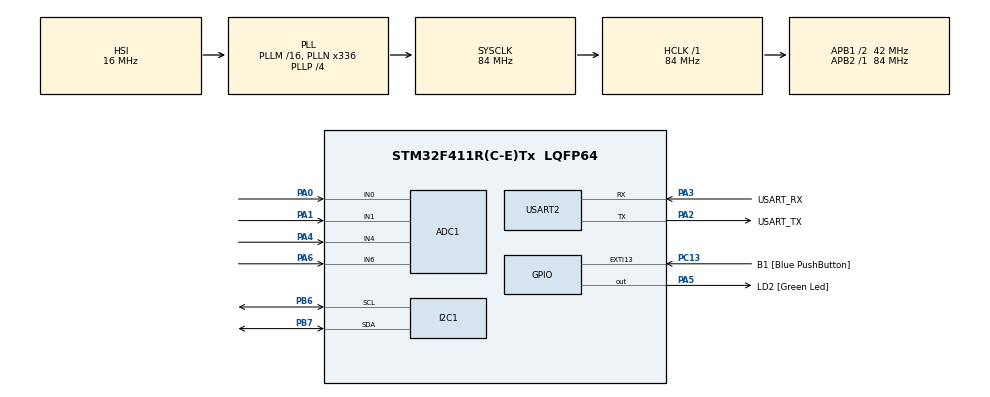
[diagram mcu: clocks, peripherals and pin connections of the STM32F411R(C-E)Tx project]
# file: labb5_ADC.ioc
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ADC1.Channel-0\#ChannelRegularConversion=ADC_CHANNEL_0
ADC1.Channel-1\#ChannelRegularConversion=ADC_CHANNEL_1
ADC1.Channel-4\#ChannelRegularConversion=ADC_CHANNEL_4
ADC1.Channel-5\#ChannelRegularConversion=ADC_CHANNEL_6
ADC1.ContinuousConvMode=ENABLE
ADC1.InjNumberOfConversion=0
ADC1.NbrOfConversion=4
ADC1.NbrOfConversionFlag=1
ADC1.Rank-0\#ChannelRegularConversion=1
ADC1.Rank-1\#ChannelRegularConversion=2
ADC1.Rank-4\#ChannelRegularConversion=3
ADC1.Rank-5\#ChannelRegularConversion=4
ADC1.SamplingTime-0\#ChannelRegularConversion=ADC_SAMPLETIME_480CYCLES
ADC1.SamplingTime-1\#ChannelRegularConversion=ADC_SAMPLETIME_480CYCLES
ADC1.SamplingTime-4\#ChannelRegularConversion=ADC_SAMPLETIME_480CYCLES
ADC1.SamplingTime-5\#ChannelRegularConversion=ADC_SAMPLETIME_480CYCLES
ADC1.ScanConvMode=ENABLE
ADC1.master=1
Mcu.Family=STM32F4
Mcu.Name=STM32F411R(C-E)Tx
Mcu.Package=LQFP64
NVIC.ADC_IRQn=true\:0\:0\:false\:false\:true\:true\:true\:true
NVIC.PriorityGroup=NVIC_PRIORITYGROUP_0
NVIC.TIM2_IRQn=true\:0\:0\:false\:false\:true\:true\:true\:true
PA0-WKUP.Signal=ADCx_IN0
PA1.Signal=ADCx_IN1
PA13.GPIO_Label=TMS
PA13.Mode=Serial_Wire
PA13.Signal=SYS_JTMS-SWDIO
PA14.GPIO_Label=TCK
PA14.Mode=Serial_Wire
PA14.Signal=SYS_JTCK-SWCLK
PA2.GPIO_Label=USART_TX
PA2.Mode=Asynchronous
PA2.Signal=USART2_TX
PA3.GPIO_Label=USART_RX
PA3.Mode=Asynchronous
PA3.Signal=USART2_RX
PA4.Signal=ADCx_IN4
PA5.GPIO_Label=LD2 [Green Led]
PA5.Signal=GPIO_Output
PA6.Signal=ADCx_IN6
PB3.GPIO_Label=SWO
PB3.Signal=SYS_JTDO-SWO
PB6.Mode=I2C
PB6.Signal=I2C1_SCL
PB7.Mode=I2C
PB7.Signal=I2C1_SDA
PC13-ANTI_TAMP.GPIO_Label=B1 [Blue PushButton]
PC13-ANTI_TAMP.GPIO_ModeDefaultEXTI=GPIO_MODE_IT_FALLING
PC13-ANTI_TAMP.Signal=GPXTI13
PC14-OSC32_IN.Mode=LSE-External-Oscillator
PC14-OSC32_IN.Signal=RCC_OSC32_IN
PC15-OSC32_OUT.Mode=LSE-External-Oscillator
PC15-OSC32_OUT.Signal=RCC_OSC32_OUT
PH0\ -\ OSC_IN.Mode=HSE-External-Clock-Source
PH0\ -\ OSC_IN.Signal=RCC_OSC_IN
PH1\ -\ OSC_OUT.Mode=HSE-External-Clock-Source
PH1\ -\ OSC_OUT.Signal=RCC_OSC_OUT
ProjectManager.HeapSize=0x200
ProjectManager.StackSize=0x400
ProjectManager.TargetToolchain=STM32CubeIDE
RCC.48MHZClocksFreq_Value=84000000
RCC.AHBFreq_Value=84000000
RCC.APB1CLKDivider=RCC_HCLK_DIV2
RCC.APB1Freq_Value=42000000
RCC.APB1TimFreq_Value=84000000
RCC.APB2Freq_Value=84000000
RCC.APB2TimFreq_Value=84000000
RCC.CortexFreq_Value=84000000
RCC.FLatency-AdvancedSettings=FLASH_LATENCY_2
RCC.HCLKFreq_Value=84000000
RCC.HSE_VALUE=8000000
RCC.HSI_VALUE=16000000
RCC.PLLN=336
RCC.PLLP=RCC_PLLP_DIV4
RCC.SYSCLKFreq_VALUE=84000000
RCC.SYSCLKSource=RCC_SYSCLKSOURCE_PLLCLK
RCC.VCOOutputFreq_Value=336000000
SH.ADCx_IN0.0=ADC1_IN0,IN0
SH.ADCx_IN1.0=ADC1_IN1,IN1
SH.ADCx_IN4.0=ADC1_IN4,IN4
SH.ADCx_IN6.0=ADC1_IN6,IN6
TIM2.Prescaler=84-1
USART2.VirtualMode=VM_ASYNC
VP_TIM2_VS_ClockSourceINT.Mode=Internal
board=NUCLEO-F411RE

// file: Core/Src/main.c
/* USER CODE BEGIN Header */
/**
  ******************************************************************************
  * @file           : main.c
  * @brief          : Main program body
  ******************************************************************************
  * @attention
  *
  * Copyright (c) 2023 STMicroelectronics.
  * All rights reserved.
  *
  * This software is licensed under terms that can be found in the LICENSE file
  * in the root directory of this software component.
  * If no LICENSE file comes with this software, it is provided AS-IS.
  *
  ******************************************************************************
  */
/* USER CODE END Header */
#include "main.h"

/* USER CODE BEGIN Includes */
#include "lcd.h"
#include <stdio.h>
#include <string.h>
/* USER CODE END Includes */

/* USER CODE BEGIN PTD */

#define ADC_BUF_SIZE 4
#define JOY_X_IX 0
#define JOY_Y_IX 3
#define LM35_IX 2
#define PHOTO_RESISTOR_IX 1

/* USER CODE END PTD */

ADC_HandleTypeDef hadc1;

I2C_HandleTypeDef hi2c1;

TIM_HandleTypeDef htim2;

UART_HandleTypeDef huart2;

/* USER CODE BEGIN PV */

TextLCDType hlcd;
uint16_t adc_buffer[ADC_BUF_SIZE];
int adc_buf_ix = 0;
int flag = 0;
int counter=0;

ADC_HandleTypeDef hadc2;

/* USER CODE END PV */

void SystemClock_Config(void);
static void MX_GPIO_Init(void);
static void MX_USART2_UART_Init(void);
static void MX_TIM2_Init(void);
static void MX_ADC1_Init(void);
static void MX_I2C1_Init(void);
/* USER CODE BEGIN PFP */

float normalize_12bit(uint16_t x); // right in image
float normalize_12bit_posneg(uint16_t x); // left in image
void HAL_ADC_ConvCpltCallback(ADC_HandleTypeDef* hadc);  // call back function for converting
float lm35_to_celsius(uint16_t lm35_reading);

/* USER CODE END PFP */

/* USER CODE BEGIN 0 */

uint16_t read_one_adc_value(ADC_HandleTypeDef * hadc)
{
	HAL_ADC_Start(hadc);
	HAL_ADC_PollForConversion(hadc, 100);
	uint32_t reading = HAL_ADC_GetValue(hadc);
	HAL_ADC_Stop(hadc);
	return (uint16_t) reading;
}

float normalize_12bit(uint16_t x)
{
	float normalized_value = (float)x/4095.0f;
	return normalized_value;
}

float normalize_12bit_posneg(uint16_t x)
{
	float midpoint = 2048.0f; // (0+4095)/2 caluculate the midel number

	float range = 2047.0f; // (4095 + 0)/ 2 the range

	float normalized_value = (x-midpoint)/ range; // the rang will be -1.0 to 1.0
	return normalized_value;
}

float lm35_to_celsius(uint16_t lm35_reading)
{

    //float voltage_at_0C = 0.0f;    // 0V at 0°C
    //float voltage_per_degree = 0.01f; // 10mV per degree Celsius

    //float voltage = (float)lm35_reading / 4095.0f * 5.0f;     // Convert the LM35 reading to voltage (assuming 5V reference)

    //float temperature = (voltage - voltage_at_0C) / voltage_per_degree;  // Calculate the temperature in degrees Celsius

    //return temperature;
	return lm35_reading/28.0;
}

void HAL_ADC_ConvCpltCallback(ADC_HandleTypeDef* hadc)
{
	if(hadc->Instance == ADC1)
	{
counter++;
		if (__HAL_ADC_GET_FLAG(&hadc1, ADC_FLAG_EOC))
		{
			float adc_value = HAL_ADC_GetValue(&hadc1);
			adc_buffer[adc_buf_ix] = adc_value;
			adc_buf_ix++;
			if(adc_buf_ix >= ADC_BUF_SIZE )
			{
				adc_buf_ix = 0;
			    //flag = 1;
			}
		}

	}
}

/* USER CODE END 0 */

int main(void)
{

  /* MCU Configuration--------------------------------------------------------*/

  /* Reset of all peripherals, Initializes the Flash interface and the Systick. */
  HAL_Init();

  /* Configure the system clock */
  SystemClock_Config();

  /* Initialize all configured peripherals */
  MX_GPIO_Init();
  MX_USART2_UART_Init();
  MX_TIM2_Init();
  MX_ADC1_Init();
  MX_I2C1_Init();
  /* USER CODE BEGIN 2 */
  //TextLCDType my_lcd;
  TextLCD_Init(&hlcd, &hi2c1,0x4E);

  HAL_ADC_Start_IT(&hadc1);

  uint16_t adc_value;
  float normalized;

  /* USER CODE END 2 */

  /* Infinite loop */
  /* USER CODE BEGIN WHILE */
  while (1)
  {

		    TextLCD_Clear(&hlcd); // Clear display
			char display_str[16] = {'\0'};

			TextLCD_Position(&hlcd, 0,0); // positioning the valaue
			sprintf(display_str, "%.2fx", normalize_12bit_posneg(adc_buffer[JOY_X_IX]));
			TextLCD_PutStr(&hlcd, display_str);

			sprintf(display_str, "%.2fy", normalize_12bit_posneg(adc_buffer[JOY_Y_IX]));
			TextLCD_Position(&hlcd, 0, 1); // Position for Joystick Y
			TextLCD_PutStr(&hlcd, display_str);

	// Display LM35 temperature value
			float lm35_temperature = lm35_to_celsius(adc_buffer[LM35_IX]);
			TextLCD_Position(&hlcd, 10, 0); // Position for LM35 Temperature
			sprintf(display_str, "%.2fC", lm35_temperature);
			TextLCD_PutStr(&hlcd, display_str);

	// Display Photoresistor temperature value
			float ljus_value = (1-normalize_12bit((adc_buffer[PHOTO_RESISTOR_IX])));
			TextLCD_Position(&hlcd, 10,1); // positioning the valaue
			sprintf(display_str, "%.3fL", ljus_value); // Display three decimal places
			TextLCD_PutStr(&hlcd, display_str);

	  HAL_Delay(1000);
    /* USER CODE END WHILE */

  }
}

void SystemClock_Config(void)
{
  RCC_OscInitTypeDef RCC_OscInitStruct = {0};
  RCC_ClkInitTypeDef RCC_ClkInitStruct = {0};

  /** Configure the main internal regulator output voltage
  */
  __HAL_RCC_PWR_CLK_ENABLE();
  __HAL_PWR_VOLTAGESCALING_CONFIG(PWR_REGULATOR_VOLTAGE_SCALE1);

  /** Initializes the RCC Oscillators according to the specified parameters
  * in the RCC_OscInitTypeDef structure.
  */
  RCC_OscInitStruct.OscillatorType = RCC_OSCILLATORTYPE_HSI;
  RCC_OscInitStruct.HSIState = RCC_HSI_ON;
  RCC_OscInitStruct.HSICalibrationValue = RCC_HSICALIBRATION_DEFAULT;
  RCC_OscInitStruct.PLL.PLLState = RCC_PLL_ON;
  RCC_OscInitStruct.PLL.PLLSource = RCC_PLLSOURCE_HSI;
  RCC_OscInitStruct.PLL.PLLM = 16;
  RCC_OscInitStruct.PLL.PLLN = 336;
  RCC_OscInitStruct.PLL.PLLP = RCC_PLLP_DIV4;
  RCC_OscInitStruct.PLL.PLLQ = 4;
  if (HAL_RCC_OscConfig(&RCC_OscInitStruct) != HAL_OK)
  {
    Error_Handler();
  }

  /** Initializes the CPU, AHB and APB buses clocks
  */
  RCC_ClkInitStruct.ClockType = RCC_CLOCKTYPE_HCLK|RCC_CLOCKTYPE_SYSCLK
                              |RCC_CLOCKTYPE_PCLK1|RCC_CLOCKTYPE_PCLK2;
  RCC_ClkInitStruct.SYSCLKSource = RCC_SYSCLKSOURCE_PLLCLK;
  RCC_ClkInitStruct.AHBCLKDivider = RCC_SYSCLK_DIV1;
  RCC_ClkInitStruct.APB1CLKDivider = RCC_HCLK_DIV2;
  RCC_ClkInitStruct.APB2CLKDivider = RCC_HCLK_DIV1;

  if (HAL_RCC_ClockConfig(&RCC_ClkInitStruct, FLASH_LATENCY_2) != HAL_OK)
  {
    Error_Handler();
  }
}

static void MX_ADC1_Init(void)
{

  ADC_ChannelConfTypeDef sConfig = {0};

  /** Configure the global features of the ADC (Clock, Resolution, Data Alignment and number of conversion)
  */
  hadc1.Instance = ADC1;
  hadc1.Init.ClockPrescaler = ADC_CLOCK_SYNC_PCLK_DIV4;
  hadc1.Init.Resolution = ADC_RESOLUTION_12B;
  hadc1.Init.ScanConvMode = ENABLE;
  hadc1.Init.ContinuousConvMode = ENABLE;
  hadc1.Init.DiscontinuousConvMode = DISABLE;
  hadc1.Init.ExternalTrigConvEdge = ADC_EXTERNALTRIGCONVEDGE_NONE;
  hadc1.Init.ExternalTrigConv = ADC_SOFTWARE_START;
  hadc1.Init.DataAlign = ADC_DATAALIGN_RIGHT;
  hadc1.Init.NbrOfConversion = 4;
  hadc1.Init.DMAContinuousRequests = DISABLE;
  hadc1.Init.EOCSelection = ADC_EOC_SINGLE_CONV;
  if (HAL_ADC_Init(&hadc1) != HAL_OK)
  {
    Error_Handler();
  }

  /** Configure for the selected ADC regular channel its corresponding rank in the sequencer and its sample time.
  */
  sConfig.Channel = ADC_CHANNEL_0;
  sConfig.Rank = 1;
  sConfig.SamplingTime = ADC_SAMPLETIME_480CYCLES;
  if (HAL_ADC_ConfigChannel(&hadc1, &sConfig) != HAL_OK)
  {
    Error_Handler();
  }

  /** Configure for the selected ADC regular channel its corresponding rank in the sequencer and its sample time.
  */
  sConfig.Channel = ADC_CHANNEL_1;
  sConfig.Rank = 2;
  if (HAL_ADC_ConfigChannel(&hadc1, &sConfig) != HAL_OK)
  {
    Error_Handler();
  }

  /** Configure for the selected ADC regular channel its corresponding rank in the sequencer and its sample time.
  */
  sConfig.Channel = ADC_CHANNEL_4;
  sConfig.Rank = 3;
  if (HAL_ADC_ConfigChannel(&hadc1, &sConfig) != HAL_OK)
  {
    Error_Handler();
  }

  /** Configure for the selected ADC regular channel its corresponding rank in the sequencer and its sample time.
  */
  sConfig.Channel = ADC_CHANNEL_6;
  sConfig.Rank = 4;
  if (HAL_ADC_ConfigChannel(&hadc1, &sConfig) != HAL_OK)
  {
    Error_Handler();
  }

}

static void MX_I2C1_Init(void)
{

  hi2c1.Instance = I2C1;
  hi2c1.Init.ClockSpeed = 100000;
  hi2c1.Init.DutyCycle = I2C_DUTYCYCLE_2;
  hi2c1.Init.OwnAddress1 = 0;
  hi2c1.Init.AddressingMode = I2C_ADDRESSINGMODE_7BIT;
  hi2c1.Init.DualAddressMode = I2C_DUALADDRESS_DISABLE;
  hi2c1.Init.OwnAddress2 = 0;
  hi2c1.Init.GeneralCallMode = I2C_GENERALCALL_DISABLE;
  hi2c1.Init.NoStretchMode = I2C_NOSTRETCH_DISABLE;
  if (HAL_I2C_Init(&hi2c1) != HAL_OK)
  {
    Error_Handler();
  }

}

static void MX_TIM2_Init(void)
{

  TIM_ClockConfigTypeDef sClockSourceConfig = {0};
  TIM_MasterConfigTypeDef sMasterConfig = {0};

  htim2.Instance = TIM2;
  htim2.Init.Prescaler = 84-1;
  htim2.Init.CounterMode = TIM_COUNTERMODE_UP;
  htim2.Init.Period = 4294967295;
  htim2.Init.ClockDivision = TIM_CLOCKDIVISION_DIV1;
  htim2.Init.AutoReloadPreload = TIM_AUTORELOAD_PRELOAD_DISABLE;
  if (HAL_TIM_Base_Init(&htim2) != HAL_OK)
  {
    Error_Handler();
  }
  sClockSourceConfig.ClockSource = TIM_CLOCKSOURCE_INTERNAL;
  if (HAL_TIM_ConfigClockSource(&htim2, &sClockSourceConfig) != HAL_OK)
  {
    Error_Handler();
  }
  sMasterConfig.MasterOutputTrigger = TIM_TRGO_RESET;
  sMasterConfig.MasterSlaveMode = TIM_MASTERSLAVEMODE_DISABLE;
  if (HAL_TIMEx_MasterConfigSynchronization(&htim2, &sMasterConfig) != HAL_OK)
  {
    Error_Handler();
  }

}

static void MX_USART2_UART_Init(void)
{

  huart2.Instance = USART2;
  huart2.Init.BaudRate = 115200;
  huart2.Init.WordLength = UART_WORDLENGTH_8B;
  huart2.Init.StopBits = UART_STOPBITS_1;
  huart2.Init.Parity = UART_PARITY_NONE;
  huart2.Init.Mode = UART_MODE_TX_RX;
  huart2.Init.HwFlowCtl = UART_HWCONTROL_NONE;
  huart2.Init.OverSampling = UART_OVERSAMPLING_16;
  if (HAL_UART_Init(&huart2) != HAL_OK)
  {
    Error_Handler();
  }

}

static void MX_GPIO_Init(void)
{
  GPIO_InitTypeDef GPIO_InitStruct = {0};

  /* GPIO Ports Clock Enable */
  __HAL_RCC_GPIOC_CLK_ENABLE();
  __HAL_RCC_GPIOH_CLK_ENABLE();
  __HAL_RCC_GPIOA_CLK_ENABLE();
  __HAL_RCC_GPIOB_CLK_ENABLE();

  /*Configure GPIO pin Output Level */
  HAL_GPIO_WritePin(LD2_GPIO_Port, LD2_Pin, GPIO_PIN_RESET);

  /*Configure GPIO pin : B1_Pin */
  GPIO_InitStruct.Pin = B1_Pin;
  GPIO_InitStruct.Mode = GPIO_MODE_IT_FALLING;
  GPIO_InitStruct.Pull = GPIO_NOPULL;
  HAL_GPIO_Init(B1_GPIO_Port, &GPIO_InitStruct);

  /*Configure GPIO pin : LD2_Pin */
  GPIO_InitStruct.Pin = LD2_Pin;
  GPIO_InitStruct.Mode = GPIO_MODE_OUTPUT_PP;
  GPIO_InitStruct.Pull = GPIO_NOPULL;
  GPIO_InitStruct.Speed = GPIO_SPEED_FREQ_LOW;
  HAL_GPIO_Init(LD2_GPIO_Port, &GPIO_InitStruct);

}

void Error_Handler(void)
{
  __disable_irq();
  while (1)
  {
  }
}
